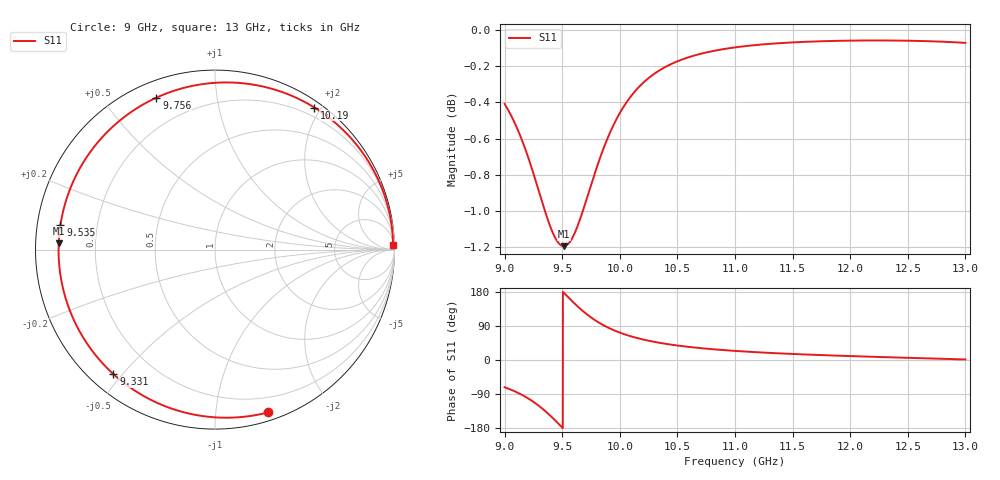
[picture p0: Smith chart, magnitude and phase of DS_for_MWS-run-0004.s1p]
! TOUCHSTONE file generated by CST DESIGN STUDIO
! Date and time: Tue Feb  4 17:25:09 2025
! Project name: C:\Work\MatlabApps\UnitCellOptimizationMatlab\CST\unitcell.cst
! Tree item: Tasks\Sweep1\SPara1\S-Parameters
! Header version: 2024
! Port assignment regex: !\s*Touchstone port\s*([0-9]+)\s*=\s*(CST MWS port|CST DES external port|CST DES block port)\s*(.+)\s* \(\"(.*)\"\)(\s*mode\s*([0-9]+))?.*
! Touchstone port assignment:
! Touchstone port 1 = CST DES external port 1 ("")
# GHz S MA R 50
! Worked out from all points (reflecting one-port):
!   4001 points, 9 GHz to 13 GHz, reference 50 ohm
!   lowest |S11| = -1.2 dB at 9.513 GHz (marker M1), VSWR 14.57, Z = 3.43 + j0.978 ohm
!   phase of S11 starts at -72 deg and turns -287 deg over the sweep
!   S11 on the Smith chart (normalised r, x): 9 GHz: 0.07, -1.38; 9.331 GHz: 0.07, -0.47; 9.535 GHz: 0.07, +0.08; 9.756 GHz: 0.07, +0.68; 10.19 GHz: 0.08, +1.92; 13 GHz: 24, +73
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9  0.9541 -71.9
9.089  0.9424 -82.8
9.192  0.9247 -99.1
9.264  0.9099 -113.4
9.331  0.8953 -129.2
9.376  0.8862 -141.1
9.424  0.8782 -154.9
9.463  0.8738 -166.7
9.5  0.8717 -178.2
9.513  0.8716 177.7
9.535  0.872 170.9
9.589  0.8763 154.4
9.65  0.8857 137.0
9.702  0.896 123.5
9.756  0.9073 111.1
9.806  0.9176 101.0
9.862  0.9281 91.1
10  0.9486 72.2
10.09  0.9581 63.1
10.189  0.9661 55.0
10.331  0.9741 46.1
10.5  0.9803 38.2
10.722  0.9853 30.7
11  0.989 24.0
11.5  0.9921 15.9
12  0.9933 10.3
12.5  0.9932 5.8
13  0.9919 1.4
